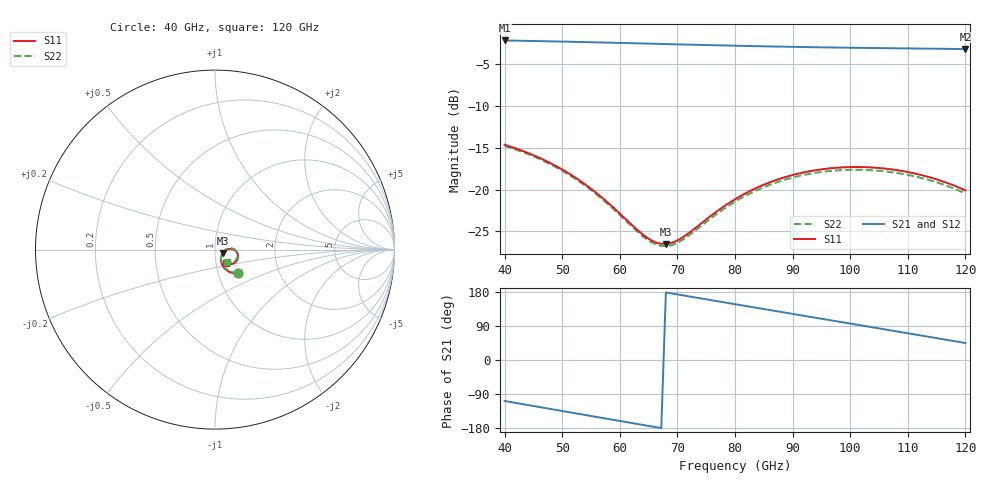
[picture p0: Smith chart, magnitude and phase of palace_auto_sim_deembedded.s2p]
! Created with skrf 1.11.0 (http://scikit-rf.org).
# GHz S DB R 50.0
!freq dBS11 angS11 dBS21 angS21 dBS12 angS12 dBS22 angS22
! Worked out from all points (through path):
!   101 points, 40 GHz to 120 GHz, reference 50 ohm
!   highest |S21| = -2.12 dB at 40 GHz (marker M1); lowest = -3.2 dB at 120 GHz (marker M2)
!   group delay of S21, straight-line fit = 7.17 ps
!   lowest |S11| = -26.5 dB at 68 GHz (marker M3), VSWR 1.10, Z = 54.3 - j2.36 ohm
!   |S11| at or under -10 dB: start of sweep to end of sweep
!   |S22| runs from -26.8 to -14.8 dB; largest |S21 - S12| = 8.3e-14
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40  -14.64 -45.6  -2.12 -108.1  -2.12 -108.1  -14.76 -44.7
43.2  -15.39 -50.9  -2.16 -116.6  -2.16 -116.6  -15.51 -49.9
46.4  -16.31 -55.8  -2.20 -125.1  -2.20 -125.1  -16.45 -54.7
50.4  -17.76 -60.9  -2.26 -135.6  -2.26 -135.6  -17.91 -59.7
53.6  -19.19 -63.6  -2.31 -144.1  -2.31 -144.1  -19.35 -62.3
57.6  -21.37 -64.1  -2.37 -154.6  -2.37 -154.6  -21.54 -62.7
60.8  -23.41 -60.2  -2.43 -163.0  -2.43 -163.0  -23.59 -58.8
64.8  -25.81 -46.1  -2.49 -173.4  -2.49 -173.4  -26.03 -44.6
67.2  -26.51 -32.3  -2.54 -179.7  -2.54 -179.7  -26.77 -30.7
68  -26.53 -27.4  -2.55 178.3  -2.55 178.3  -26.80 -25.7
69.6  -26.24 -18.1  -2.58 174.1  -2.58 174.1  -26.52 -16.3
71.2  -25.61 -10.4  -2.60 170.0  -2.60 170.0  -25.90 -8.4
75.2  -23.49 0.6  -2.67 159.6  -2.67 159.6  -23.78 2.9
80  -21.17 2.9  -2.75 147.3  -2.75 147.3  -21.47 5.5
83.2  -19.98 1.1  -2.80 139.1  -2.80 139.1  -20.28 3.9
87.2  -18.85 -3.0  -2.85 128.9  -2.85 128.9  -19.15 -0.1
93.6  -17.73 -11.9  -2.93 112.5  -2.93 112.5  -18.04 -8.7
97.6  -17.39 -18.2  -2.97 102.3  -2.97 102.3  -17.71 -14.8
100.8  -17.30 -23.3  -3.00 94.1  -3.00 94.1  -17.63 -19.8
107.2  -17.58 -33.6  -3.05 77.7  -3.05 77.7  -17.92 -29.8
113.6  -18.49 -43.0  -3.10 61.3  -3.10 61.3  -18.85 -39.1
120  -20.10 -50.2  -3.15 44.8  -3.15 44.8  -20.48 -46.3
